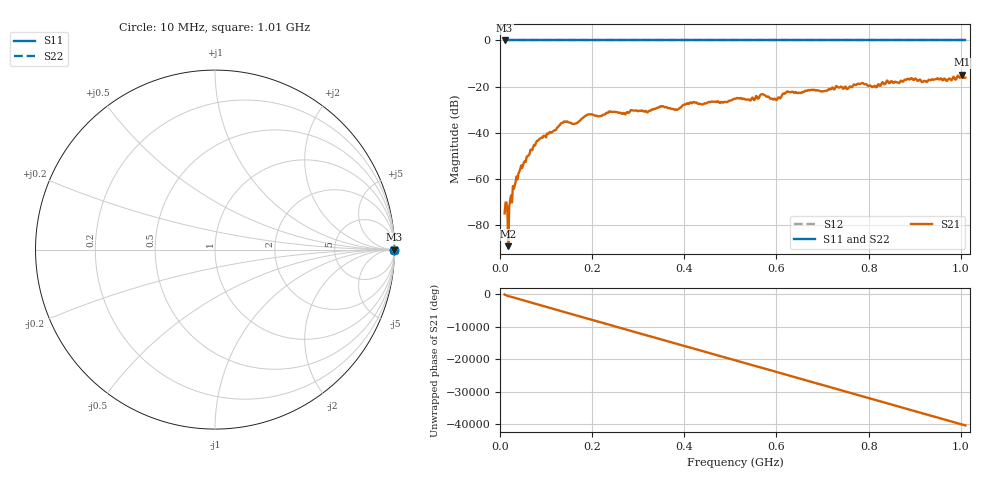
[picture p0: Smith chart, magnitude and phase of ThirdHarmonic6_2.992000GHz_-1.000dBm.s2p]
! 8/17/2025 8:31:55 AM
! C:\ANRITSUVNA\TEMP\TEMP.S2P
! CHANNEL.1
! TR.MEASUREMENT
! RAW.DATA
! RF.CORRECTION.OFF
! AVERAGING.OFF
! IF.BANDWIDTH: 5KHZ
! SWEEPTYPE:  FREQ.SWEEP(Linear)
! Reference Plane Port Info
! PORT:  PORT1  PORT2
! DISTANCE:  0  m  0  m
! TIME:  0  s  0  s
! PHASE.OFFSET:  0  deg.  0  deg.
! LOSS:  0  dB  0  dB
! REF.LOSS:  0  dB  0  dB
! REF.FREQ:  0  Hz  0  Hz
! Power Info
! POWER:  -20  dBm  -20  dBm
! EFF.POWER:  -20  dBm  -20  dBm
! SOURCE.ATTEN:  0  dB  0  dB
! TEST.ATTEN:  0  dB  0  dB
# GHZ S RI R 50.0
! FREQ.GHZ  S11RE  S11IM  S21RE  S21IM  S12RE  S12IM  S22RE  S22IM
!; PortSelection: Port_12
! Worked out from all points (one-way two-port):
!   501 points, 10 MHz to 1.01 GHz, reference 50 ohm
!   highest |S21| = -14.85 dB at 1.002 GHz (marker M1); lowest = -89.0 dB at 18 MHz (marker M2)
!   lowest |S11| = 0.0 dB at 10 MHz (marker M3)
!   |S11| at or under -10 dB: nowhere
!   |S22| runs from 0.0 to 0.0 dB; largest |S21 - S12| = 1.2
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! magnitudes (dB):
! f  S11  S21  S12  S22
! 10 MHz  0.0  -74.9  0.0  0.0
! 18 MHz  0.0  -89.0  0.0  0.0
! 22 MHz  0.0  -69.1  0.0  0.0
! 24 MHz  0.0  -67.1  0.0  0.0
! 32 MHz  0.0  -62.7  0.0  0.0
! 44 MHz  0.0  -55.7  0.0  0.0
! 82 MHz  0.0  -43.4  0.0  0.0
! 136 MHz  0.0  -35.6  0.0  0.0
! 162 MHz  0.0  -36.1  0.0  0.0
! 178 MHz  0.0  -33.7  0.0  0.0
! 344 MHz  0.0  -29.0  0.0  0.0
! 382 MHz  0.0  -29.8  0.0  0.0
! 416 MHz  0.0  -27.2  0.0  0.0
! 510 MHz  0.0  -25.2  0.0  0.0
! 540 MHz  0.0  -25.5  0.0  0.0
! 570 MHz  0.0  -23.3  0.0  0.0
! 598 MHz  0.0  -25.7  0.0  0.0
! 624 MHz  0.0  -22.1  0.0  0.0
! 678 MHz  0.0  -21.4  0.0  0.0
! 844 MHz  0.0  -18.5  0.0  0.0
! 1.002 GHz  0.0  -14.9  0.0  0.0
! 1.01 GHz  0.0  -16.1  0.0  0.0
